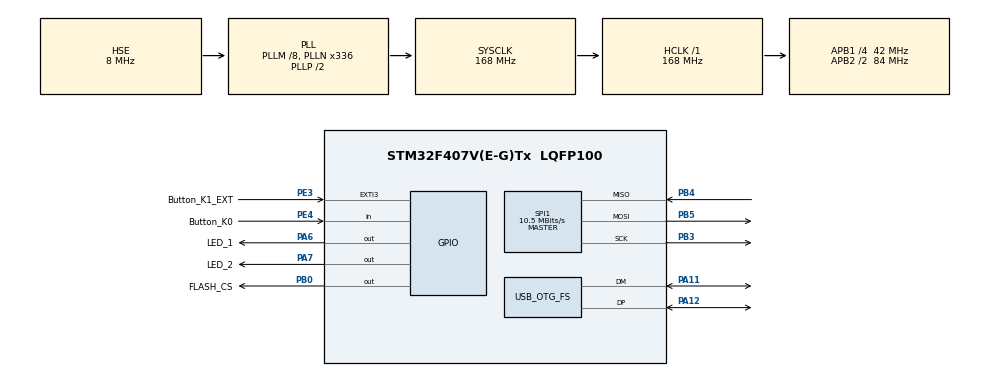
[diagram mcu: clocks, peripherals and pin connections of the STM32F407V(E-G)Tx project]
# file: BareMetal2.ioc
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ADC1.Channel-0\#ChannelRegularConversion=ADC_CHANNEL_TEMPSENSOR
ADC1.ContinuousConvMode=ENABLE
ADC1.DMAContinuousRequests=ENABLE
ADC1.NbrOfConversionFlag=1
ADC1.Rank-0\#ChannelRegularConversion=1
ADC1.SamplingTime-0\#ChannelRegularConversion=ADC_SAMPLETIME_480CYCLES
ADC1.master=1
Dma.ADC1.0.Direction=DMA_PERIPH_TO_MEMORY
Dma.ADC1.0.FIFOMode=DMA_FIFOMODE_DISABLE
Dma.ADC1.0.Instance=DMA2_Stream0
Dma.ADC1.0.MemDataAlignment=DMA_MDATAALIGN_HALFWORD
Dma.ADC1.0.MemInc=DMA_MINC_ENABLE
Dma.ADC1.0.Mode=DMA_CIRCULAR
Dma.ADC1.0.PeriphDataAlignment=DMA_PDATAALIGN_HALFWORD
Dma.ADC1.0.PeriphInc=DMA_PINC_DISABLE
Dma.ADC1.0.Priority=DMA_PRIORITY_LOW
Dma.Request0=ADC1
Mcu.Family=STM32F4
Mcu.Name=STM32F407V(E-G)Tx
Mcu.Package=LQFP100
NVIC.ADC_IRQn=true\:0\:0\:false\:false\:true\:true\:true\:true
NVIC.DMA2_Stream0_IRQn=true\:0\:0\:false\:false\:true\:false\:true\:true
NVIC.EXTI3_IRQn=true\:0\:0\:false\:false\:true\:true\:true\:true
NVIC.OTG_FS_IRQn=true\:0\:0\:false\:false\:true\:false\:true\:true
NVIC.PriorityGroup=NVIC_PRIORITYGROUP_4
NVIC.TIM2_IRQn=true\:0\:0\:false\:false\:true\:true\:true\:true
PA11.Mode=Device_Only
PA11.Signal=USB_OTG_FS_DM
PA12.Mode=Device_Only
PA12.Signal=USB_OTG_FS_DP
PA13.Mode=Serial_Wire
PA13.Signal=SYS_JTMS-SWDIO
PA14.Mode=Serial_Wire
PA14.Signal=SYS_JTCK-SWCLK
PA6.GPIO_Label=LED_1
PA6.Signal=GPIO_Output
PA7.GPIO_Label=LED_2
PA7.Signal=GPIO_Output
PB0.GPIO_Label=FLASH_CS
PB0.Signal=GPIO_Output
PB3.Mode=Full_Duplex_Master
PB3.Signal=SPI1_SCK
PB4.Mode=Full_Duplex_Master
PB4.Signal=SPI1_MISO
PB5.Mode=Full_Duplex_Master
PB5.Signal=SPI1_MOSI
PE3.GPIO_Label=Button_K1_EXT
PE3.Signal=GPXTI3
PE4.GPIO_Label=Button_K0
PE4.Signal=GPIO_Input
PH0-OSC_IN.Mode=HSE-External-Oscillator
PH0-OSC_IN.Signal=RCC_OSC_IN
PH1-OSC_OUT.Mode=HSE-External-Oscillator
PH1-OSC_OUT.Signal=RCC_OSC_OUT
ProjectManager.HeapSize=0x200
ProjectManager.StackSize=0x400
ProjectManager.TargetToolchain=STM32CubeIDE
RCC.48MHZClocksFreq_Value=48000000
RCC.AHBFreq_Value=168000000
RCC.APB1CLKDivider=RCC_HCLK_DIV4
RCC.APB1Freq_Value=42000000
RCC.APB1TimFreq_Value=84000000
RCC.APB2CLKDivider=RCC_HCLK_DIV2
RCC.APB2Freq_Value=84000000
RCC.APB2TimFreq_Value=168000000
RCC.CortexFreq_Value=168000000
RCC.HCLKFreq_Value=168000000
RCC.HSE_VALUE=8000000
RCC.HSI_VALUE=16000000
RCC.LSE_VALUE=32768
RCC.PLLM=8
RCC.PLLN=336
RCC.PLLQ=7
RCC.SYSCLKFreq_VALUE=168000000
RCC.SYSCLKSource=RCC_SYSCLKSOURCE_PLLCLK
RCC.VCOOutputFreq_Value=336000000
SPI1.BaudRatePrescaler=SPI_BAUDRATEPRESCALER_8
SPI1.CalculateBaudRate=10.5 MBits/s
SPI1.Direction=SPI_DIRECTION_2LINES
SPI1.Mode=SPI_MODE_MASTER
SPI1.VirtualType=VM_MASTER
TIM2.Period=9999
TIM2.Prescaler=8399
USB_DEVICE.CLASS_NAME_FS=CDC
USB_DEVICE.VirtualMode-CDC_FS=Cdc
USB_DEVICE.VirtualModeFS=Cdc_FS
USB_OTG_FS.VirtualMode=Device_Only
VP_ADC1_TempSens_Input.Mode=IN-TempSens
VP_TIM2_VS_ClockSourceINT.Mode=Internal
VP_USB_DEVICE_VS_USB_DEVICE_CDC_FS.Mode=CDC_FS
board=custom

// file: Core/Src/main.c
/* USER CODE BEGIN Header */
/**
 ******************************************************************************
 * @file           : main.c
 * @brief          : Main program body
 ******************************************************************************
 * @attention
 *
 * Copyright (c) 2025 STMicroelectronics.
 * All rights reserved.
 *
 * This software is licensed under terms that can be found in the LICENSE file
 * in the root directory of this software component.
 * If no LICENSE file comes with this software, it is provided AS-IS.
 *
 ******************************************************************************
 */
/* USER CODE END Header */
#include "main.h"
#include "usb_device.h"

/* USER CODE BEGIN Includes */
#include <stdbool.h>

#include "scheduler.h"
#include "task_blink.h"
#include "task_temp.h"
#include "flash_task.h"
#include "app_fsm.h"
#include "flash_task.h"
/* USER CODE END Includes */

ADC_HandleTypeDef hadc1;
DMA_HandleTypeDef hdma_adc1;

SPI_HandleTypeDef hspi1;

TIM_HandleTypeDef htim2;

void SystemClock_Config(void);
static void MX_GPIO_Init(void);
static void MX_DMA_Init(void);
static void MX_TIM2_Init(void);
static void MX_ADC1_Init(void);
static void MX_SPI1_Init(void);

/* USER CODE BEGIN 0 */
uint16_t adcBuf[64] = {0};

/* USER CODE END 0 */

int main(void)
{

	/* MCU Configuration--------------------------------------------------------*/

	/* Reset of all peripherals, Initializes the Flash interface and the Systick. */
	HAL_Init();

	/* Configure the system clock */
	SystemClock_Config();

	/* Initialize all configured peripherals */
	MX_GPIO_Init();
	MX_DMA_Init();
	MX_TIM2_Init();
	MX_ADC1_Init();
	MX_USB_DEVICE_Init();
	HAL_GPIO_WritePin(GPIOB, GPIO_PIN_0, GPIO_PIN_SET);   // keep /CS high
	MX_SPI1_Init();
	/* USER CODE BEGIN 2 */
	HAL_TIM_Base_Start_IT(&htim2);
	//HAL_ADC_Start_DMA(&hadc1, (uint32_t *)adcBuf, sizeof(adcBuf) / 2);
	W25Q16_Init(&hspi1);                                  // flash present? → true
	task_flash_init();
	taskButtonInit();

	/* USER CODE END 2 */

	/* Infinite loop */
	/* USER CODE BEGIN WHILE */
	while (1)
	{
		schedulerRun();
		//fsmRun();
		__WFI();                    // Wait-For-Interrupt (optional)
		/* USER CODE END WHILE */

	}
}

void SystemClock_Config(void)
{
	RCC_OscInitTypeDef RCC_OscInitStruct = {0};
	RCC_ClkInitTypeDef RCC_ClkInitStruct = {0};

	/** Configure the main internal regulator output voltage
	 */
	__HAL_RCC_PWR_CLK_ENABLE();
	__HAL_PWR_VOLTAGESCALING_CONFIG(PWR_REGULATOR_VOLTAGE_SCALE1);

	/** Initializes the RCC Oscillators according to the specified parameters
	 * in the RCC_OscInitTypeDef structure.
	 */
	RCC_OscInitStruct.OscillatorType = RCC_OSCILLATORTYPE_HSE;
	RCC_OscInitStruct.HSEState = RCC_HSE_ON;
	RCC_OscInitStruct.PLL.PLLState = RCC_PLL_ON;
	RCC_OscInitStruct.PLL.PLLSource = RCC_PLLSOURCE_HSE;
	RCC_OscInitStruct.PLL.PLLM = 8;
	RCC_OscInitStruct.PLL.PLLN = 336;
	RCC_OscInitStruct.PLL.PLLP = RCC_PLLP_DIV2;
	RCC_OscInitStruct.PLL.PLLQ = 7;
	if (HAL_RCC_OscConfig(&RCC_OscInitStruct) != HAL_OK)
	{
		Error_Handler();
	}

	/** Initializes the CPU, AHB and APB buses clocks
	 */
	RCC_ClkInitStruct.ClockType = RCC_CLOCKTYPE_HCLK|RCC_CLOCKTYPE_SYSCLK
			|RCC_CLOCKTYPE_PCLK1|RCC_CLOCKTYPE_PCLK2;
	RCC_ClkInitStruct.SYSCLKSource = RCC_SYSCLKSOURCE_PLLCLK;
	RCC_ClkInitStruct.AHBCLKDivider = RCC_SYSCLK_DIV1;
	RCC_ClkInitStruct.APB1CLKDivider = RCC_HCLK_DIV4;
	RCC_ClkInitStruct.APB2CLKDivider = RCC_HCLK_DIV2;

	if (HAL_RCC_ClockConfig(&RCC_ClkInitStruct, FLASH_LATENCY_5) != HAL_OK)
	{
		Error_Handler();
	}
}

static void MX_ADC1_Init(void)
{

	ADC_ChannelConfTypeDef sConfig = {0};

	/** Configure the global features of the ADC (Clock, Resolution, Data Alignment and number of conversion)
	 */
	hadc1.Instance = ADC1;
	hadc1.Init.ClockPrescaler = ADC_CLOCK_SYNC_PCLK_DIV4;
	hadc1.Init.Resolution = ADC_RESOLUTION_12B;
	hadc1.Init.ScanConvMode = DISABLE;
	hadc1.Init.ContinuousConvMode = ENABLE;
	hadc1.Init.DiscontinuousConvMode = DISABLE;
	hadc1.Init.ExternalTrigConvEdge = ADC_EXTERNALTRIGCONVEDGE_NONE;
	hadc1.Init.ExternalTrigConv = ADC_SOFTWARE_START;
	hadc1.Init.DataAlign = ADC_DATAALIGN_RIGHT;
	hadc1.Init.NbrOfConversion = 1;
	hadc1.Init.DMAContinuousRequests = ENABLE;
	hadc1.Init.EOCSelection = ADC_EOC_SINGLE_CONV;
	if (HAL_ADC_Init(&hadc1) != HAL_OK)
	{
		Error_Handler();
	}

	/** Configure for the selected ADC regular channel its corresponding rank in the sequencer and its sample time.
	 */
	sConfig.Channel = ADC_CHANNEL_TEMPSENSOR;
	sConfig.Rank = 1;
	sConfig.SamplingTime = ADC_SAMPLETIME_480CYCLES;
	if (HAL_ADC_ConfigChannel(&hadc1, &sConfig) != HAL_OK)
	{
		Error_Handler();
	}

}

static void MX_SPI1_Init(void)
{

	/* SPI1 parameter configuration*/
	hspi1.Instance = SPI1;
	hspi1.Init.Mode = SPI_MODE_MASTER;
	hspi1.Init.Direction = SPI_DIRECTION_2LINES;
	hspi1.Init.DataSize = SPI_DATASIZE_8BIT;
	hspi1.Init.CLKPolarity = SPI_POLARITY_LOW;
	hspi1.Init.CLKPhase = SPI_PHASE_1EDGE;
	hspi1.Init.NSS = SPI_NSS_SOFT;
	hspi1.Init.BaudRatePrescaler = SPI_BAUDRATEPRESCALER_8;
	hspi1.Init.FirstBit = SPI_FIRSTBIT_MSB;
	hspi1.Init.TIMode = SPI_TIMODE_DISABLE;
	hspi1.Init.CRCCalculation = SPI_CRCCALCULATION_DISABLE;
	hspi1.Init.CRCPolynomial = 10;
	if (HAL_SPI_Init(&hspi1) != HAL_OK)
	{
		Error_Handler();
	}

}

static void MX_TIM2_Init(void)
{

	TIM_ClockConfigTypeDef sClockSourceConfig = {0};
	TIM_MasterConfigTypeDef sMasterConfig = {0};

	htim2.Instance = TIM2;
	htim2.Init.Prescaler = 8399;
	htim2.Init.CounterMode = TIM_COUNTERMODE_UP;
	htim2.Init.Period = 9999;
	htim2.Init.ClockDivision = TIM_CLOCKDIVISION_DIV1;
	htim2.Init.AutoReloadPreload = TIM_AUTORELOAD_PRELOAD_DISABLE;
	if (HAL_TIM_Base_Init(&htim2) != HAL_OK)
	{
		Error_Handler();
	}
	sClockSourceConfig.ClockSource = TIM_CLOCKSOURCE_INTERNAL;
	if (HAL_TIM_ConfigClockSource(&htim2, &sClockSourceConfig) != HAL_OK)
	{
		Error_Handler();
	}
	sMasterConfig.MasterOutputTrigger = TIM_TRGO_RESET;
	sMasterConfig.MasterSlaveMode = TIM_MASTERSLAVEMODE_DISABLE;
	if (HAL_TIMEx_MasterConfigSynchronization(&htim2, &sMasterConfig) != HAL_OK)
	{
		Error_Handler();
	}

}

static void MX_DMA_Init(void)
{

	/* DMA controller clock enable */
	__HAL_RCC_DMA2_CLK_ENABLE();

	/* DMA interrupt init */
	/* DMA2_Stream0_IRQn interrupt configuration */
	HAL_NVIC_SetPriority(DMA2_Stream0_IRQn, 0, 0);
	HAL_NVIC_EnableIRQ(DMA2_Stream0_IRQn);

}

static void MX_GPIO_Init(void)
{
	GPIO_InitTypeDef GPIO_InitStruct = {0};

	/* GPIO Ports Clock Enable */
	__HAL_RCC_GPIOE_CLK_ENABLE();
	__HAL_RCC_GPIOH_CLK_ENABLE();
	__HAL_RCC_GPIOA_CLK_ENABLE();
	__HAL_RCC_GPIOB_CLK_ENABLE();

	/*Configure GPIO pin Output Level */
	HAL_GPIO_WritePin(GPIOA, LED_1_Pin|LED_2_Pin, GPIO_PIN_RESET);

	/*Configure GPIO pin Output Level */
	HAL_GPIO_WritePin(FLASH_CS_GPIO_Port, FLASH_CS_Pin, GPIO_PIN_RESET);

	/*Configure GPIO pin : Button_K1_EXT_Pin */
	GPIO_InitStruct.Pin = Button_K1_EXT_Pin;
	GPIO_InitStruct.Mode = GPIO_MODE_IT_RISING;
	GPIO_InitStruct.Pull = GPIO_NOPULL;
	HAL_GPIO_Init(Button_K1_EXT_GPIO_Port, &GPIO_InitStruct);

	/*Configure GPIO pin : Button_K0_Pin */
	GPIO_InitStruct.Pin = Button_K0_Pin;
	GPIO_InitStruct.Mode = GPIO_MODE_INPUT;
	GPIO_InitStruct.Pull = GPIO_NOPULL;
	HAL_GPIO_Init(Button_K0_GPIO_Port, &GPIO_InitStruct);

	/*Configure GPIO pins : LED_1_Pin LED_2_Pin */
	GPIO_InitStruct.Pin = LED_1_Pin|LED_2_Pin;
	GPIO_InitStruct.Mode = GPIO_MODE_OUTPUT_PP;
	GPIO_InitStruct.Pull = GPIO_NOPULL;
	GPIO_InitStruct.Speed = GPIO_SPEED_FREQ_LOW;
	HAL_GPIO_Init(GPIOA, &GPIO_InitStruct);

	/*Configure GPIO pin : FLASH_CS_Pin */
	GPIO_InitStruct.Pin = FLASH_CS_Pin;
	GPIO_InitStruct.Mode = GPIO_MODE_OUTPUT_PP;
	GPIO_InitStruct.Pull = GPIO_NOPULL;
	GPIO_InitStruct.Speed = GPIO_SPEED_FREQ_LOW;
	HAL_GPIO_Init(FLASH_CS_GPIO_Port, &GPIO_InitStruct);

	/* EXTI interrupt init*/
	HAL_NVIC_SetPriority(EXTI3_IRQn, 0, 0);
	HAL_NVIC_EnableIRQ(EXTI3_IRQn);

}

/* USER CODE BEGIN 4 */
void HAL_TIM_PeriodElapsedCallback(TIM_HandleTypeDef *htim)
{
	if (htim->Instance == TIM2)      // make sure it’s our timer
	{
		//HAL_GPIO_TogglePin(GPIOA, LED_1_Pin);
		//blinkCB(); // flip LED
	}
}

void HAL_ADC_ConvCpltCallback(ADC_HandleTypeDef *hadc)
{
	if(hadc->Instance == ADC1){
		tempCB();
	}
}

void HAL_GPIO_EXTI_Callback(uint16_t pin)
{
	if(pin == GPIO_PIN_3) //PE3
		fsmEventButton();	//flip flag
}

/* USER CODE END 4 */

void Error_Handler(void)
{
	__disable_irq();
	while (1)
	{
	}
}
